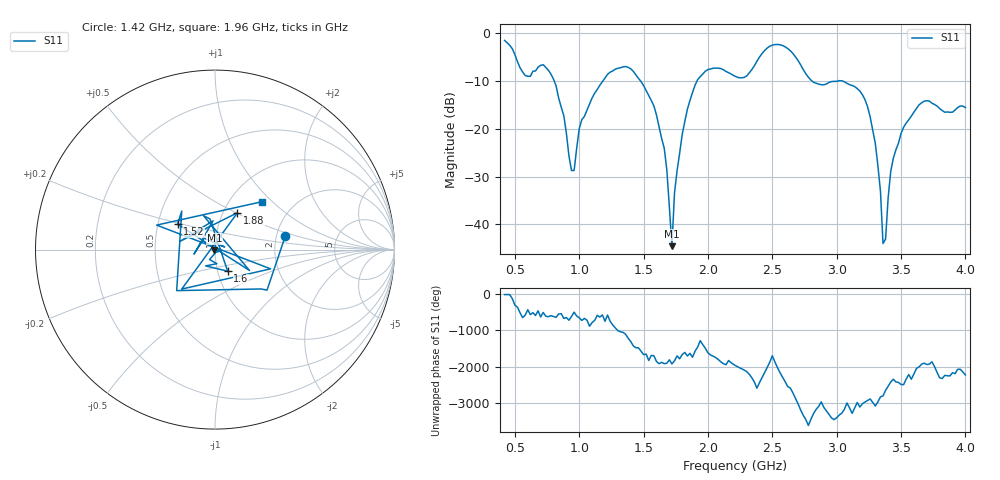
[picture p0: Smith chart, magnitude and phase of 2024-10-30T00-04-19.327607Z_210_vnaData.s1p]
!Created with skrf (http://scikit-rf.org).
# Hz S RI R 50.0
!freq ReS11 ImS11
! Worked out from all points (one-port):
!   180 points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, 420 MHz to 4 GHz, reference 50 ohm
!   lowest |S11| = -44.6 dB at 1.72 GHz (marker M1), VSWR 1.01, Z = 49.6 - j0.466 ohm
!   |S11| at or under -10 dB: 805.7 MHz to 1.183 GHz (377.3 MHz wide, 37.9 % of centre); 1.477 GHz to 1.914 GHz (437.3 MHz wide, 25.8 % of centre); 3.047 GHz to end of sweep (the widest 3 of 4)
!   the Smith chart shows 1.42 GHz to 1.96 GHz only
!   S11 on the Smith chart (normalised r, x): 1.42 GHz: 2.24, +0.42; 1.52 GHz: 0.63, +0.19; 1.6 GHz: 1.12, -0.27; 1.88 GHz: 1.17, +0.51; 1.96 GHz: 1.40, +0.87
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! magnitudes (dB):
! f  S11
! 420 MHz  -1.5
! 580 MHz  -8.8
! 760 MHz  -7.7
! 880 MHz  -17.2
! 960 MHz  -28.7
! 1.02 GHz  -18.1
! 1.32 GHz  -7.2
! 1.42 GHz  -8.0
! 1.52 GHz  -12.0
! 1.6 GHz  -17.1
! 1.68 GHz  -28.5
! 1.72 GHz  -44.6
! 1.74 GHz  -33.4
! 1.78 GHz  -25.1
! 1.88 GHz  -12.4
! 1.96 GHz  -8.5
! 2.22 GHz  -9.1
! 2.5 GHz  -2.5
! 2.66 GHz  -4.2
! 2.82 GHz  -10.3
! 3.12 GHz  -10.9
! 3.28 GHz  -20.2
! 3.34 GHz  -33.0
! 3.36 GHz  -44.0
! 3.38 GHz  -43.1
! 3.44 GHz  -26.2
! 3.56 GHz  -18.1
! 4 GHz  -15.5
